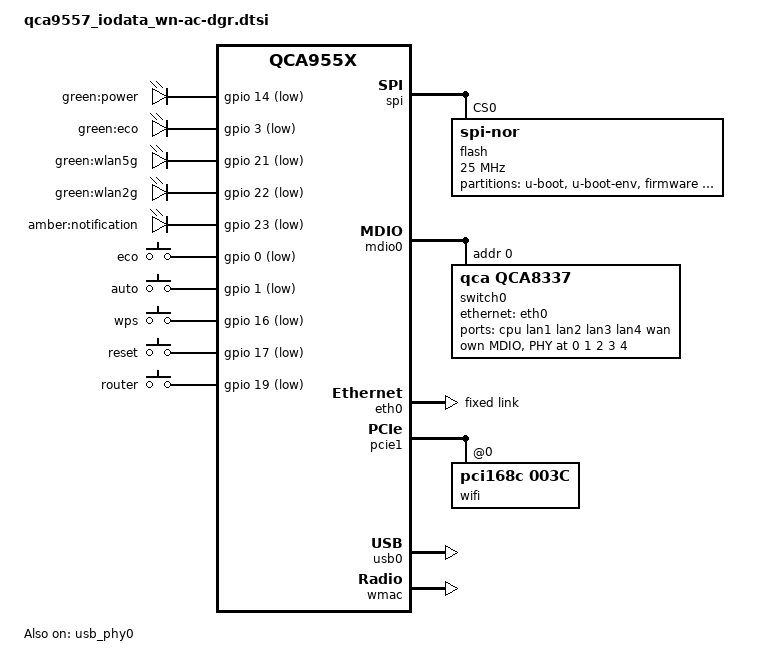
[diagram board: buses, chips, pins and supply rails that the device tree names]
// SPDX-License-Identifier: GPL-2.0-or-later OR MIT

#include "qca955x.dtsi"

#include <dt-bindings/gpio/gpio.h>
#include <dt-bindings/input/input.h>

/ {
	aliases {
		led-boot = &led_power;
		led-failsafe = &led_power;
		led-running = &led_power;
		led-upgrade = &led_power;
	};

	leds: leds {
		compatible = "gpio-leds";

		led_power: power {
			label = "green:power";
			gpios = <&gpio 14 GPIO_ACTIVE_LOW>;
			default-state = "on";
		};

		eco {
			label = "green:eco";
			gpios = <&gpio 3 GPIO_ACTIVE_LOW>;
		};

		wlan5g {
			label = "green:wlan5g";
			gpios = <&gpio 21 GPIO_ACTIVE_LOW>;
			linux,default-trigger = "phy0tpt";
		};

		wlan2g {
			label = "green:wlan2g";
			gpios = <&gpio 22 GPIO_ACTIVE_LOW>;
			linux,default-trigger = "phy1tpt";
		};

		notification {
			label = "amber:notification";
			gpios = <&gpio 23 GPIO_ACTIVE_LOW>;
		};
	};

	keys: keys {
		compatible = "gpio-keys";

		eco {
			label = "eco";
			gpios = <&gpio 0 GPIO_ACTIVE_LOW>;
			linux,code = <BTN_1>;
			debounce-interval = <60>;
		};

		auto {
			label = "auto";
			gpios = <&gpio 1 GPIO_ACTIVE_LOW>;
			linux,code = <BTN_0>;
			linux,input-type = <EV_SW>;
			debounce-interval = <60>;
		};

		wps {
			label = "wps";
			gpios = <&gpio 16 GPIO_ACTIVE_LOW>;
			linux,code = <KEY_WPS_BUTTON>;
			debounce-interval = <60>;
		};

		reset {
			label = "reset";
			gpios = <&gpio 17 GPIO_ACTIVE_LOW>;
			linux,code = <KEY_RESTART>;
			debounce-interval = <60>;
		};

		router {
			label = "router";
			gpios = <&gpio 19 GPIO_ACTIVE_LOW>;
			linux,code = <BTN_0>;
			linux,input-type = <EV_SW>;
			debounce-interval = <60>;
		};
	};
};

&spi {
	status = "okay";

	flash@0 {
		compatible = "jedec,spi-nor";
		reg = <0>;
		spi-max-frequency = <25000000>;

		partitions {
			compatible = "fixed-partitions";
			#address-cells = <1>;
			#size-cells = <1>;

			partition@0 {
				label = "u-boot";
				reg = <0x000000 0x030000>;
				read-only;
			};

			partition@30000 {
				label = "u-boot-env";
				reg = <0x030000 0x010000>;
				read-only;
			};

			partition@40000 {
				compatible = "denx,uimage";
				label = "firmware";
				reg = <0x040000 0xe50000>;
			};

			partition@e90000 {
				label = "manufacture";
				reg = <0xe90000 0x100000>;
				read-only;
			};

			partition@f90000 {
				label = "backup";
				reg = <0xf90000 0x010000>;
				read-only;
			};

			partition@fa0000 {
				label = "storage";
				reg = <0xfa0000 0x050000>;
				read-only;
			};

			art: partition@ff0000 {
				label = "art";
				reg = <0xff0000 0x010000>;
				read-only;
			};
		};
	};
};

&mdio0 {
	status = "okay";

	switch0@10 {
		compatible = "qca,qca8337";
		#address-cells = <1>;
		#size-cells = <0>;

		reg = <0>;

		ports {
			#address-cells = <1>;
			#size-cells = <0>;

			port@0 {
				reg = <0>;
				label = "cpu";
				ethernet = <&eth0>;
				phy-mode = "rgmii-id";
				tx-internal-delay-ps = <2000>;

				fixed-link {
					speed = <1000>;
					full-duplex;
				};
			};

			port@1 {
				reg = <1>;
				label = "lan1";
				phy-mode = "internal";
				phy-handle = <&phy_port1>;
			};

			port@2 {
				reg = <2>;
				label = "lan2";
				phy-mode = "internal";
				phy-handle = <&phy_port2>;
			};

			port@3 {
				reg = <3>;
				label = "lan3";
				phy-mode = "internal";
				phy-handle = <&phy_port3>;
			};

			port@4 {
				reg = <4>;
				label = "lan4";
				phy-mode = "internal";
				phy-handle = <&phy_port4>;
			};

			port@5 {
				reg = <5>;
				label = "wan";
				phy-mode = "internal";
				phy-handle = <&phy_port5>;
			};
		};

		mdio {
			#address-cells = <1>;
			#size-cells = <0>;

			phy_port1: phy@0 {
				reg = <0>;
			};

			phy_port2: phy@1 {
				reg = <1>;
			};

			phy_port3: phy@2 {
				reg = <2>;
			};

			phy_port4: phy@3 {
				reg = <3>;
			};

			phy_port5: phy@4 {
				reg = <4>;
			};
		};
	};
};

&eth0 {
	status = "okay";

	pll-data = <0x06000000 0x00000101 0x00001616>;

	fixed-link {
		speed = <1000>;
		full-duplex;
	};
};

&pcie1 {
	status = "okay";

	wifi@0,0 {
		compatible = "pci168c,003c";
		reg = <0x0000 0 0 0 0>;
	};
};

&usb_phy0 {
	status = "okay";
};

&usb0 {
	status = "okay";
};

&wmac {
	status = "okay";

	qca,no-eeprom;
};
